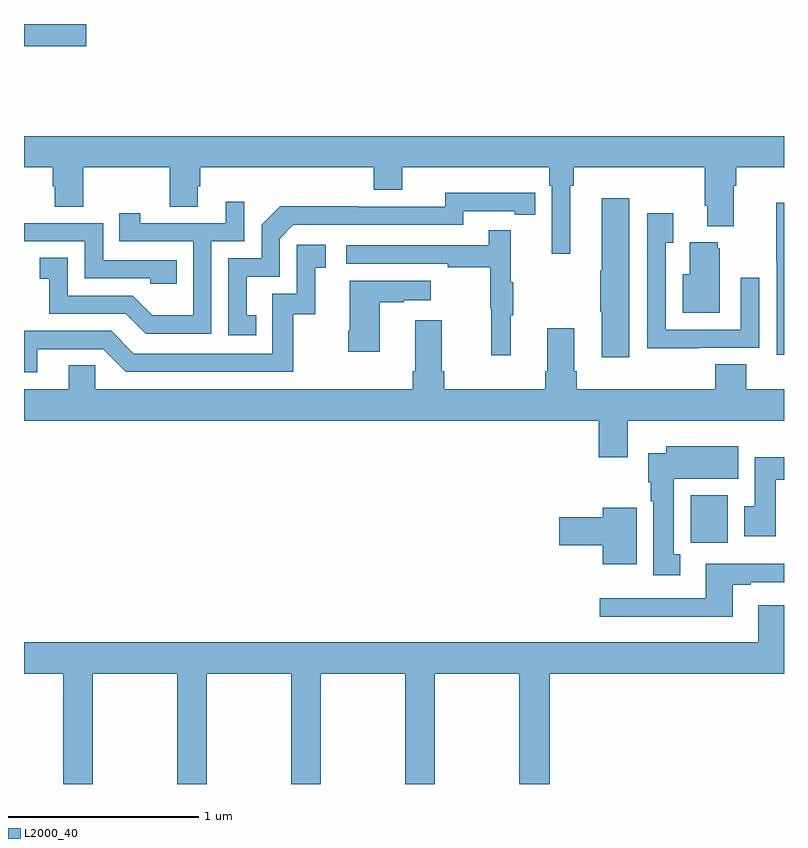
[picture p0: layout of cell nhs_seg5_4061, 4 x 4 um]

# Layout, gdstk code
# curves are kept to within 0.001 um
import gdstk
lib = gdstk.Library(unit=1e-6, precision=1e-09)
def R(c, l, rs):  # rectangles x0, y0, x1, y1
    for r in rs: c.add(gdstk.rectangle(r[:2], r[2:], *l))
def P(c, l, *ps):  # polygons
    for p in ps: c.add(gdstk.Polygon(p, *l))
L2000_40 = (2000, 40)

nhs_seg5_4061 = lib.new_cell('nhs_seg5_4061')
R(nhs_seg5_4061, L2000_40, [(352.509,904.068,352.705,904.318), (349,906.682,349.327,906.799)])
P(nhs_seg5_4061, L2000_40, [(351.874,905.948),(351.893,905.948),(351.893,906.044),(352.583,906.044),(352.583,905.842),(352.595,905.842),(352.595,905.735),(352.735,905.735),(352.735,905.948),(352.748,905.948),(352.748,906.044),(353,906.044),(353,906.208),(349,906.208),(349,906.044),(349.151,906.044),(349.151,905.946),(349.163,905.946),(349.163,905.836),(349.311,905.836),(349.311,906.044),(349.768,906.044),(349.768,905.836),(349.915,905.836),(349.915,905.946),(349.928,905.946),(349.928,906.044),(350.84,906.044),(350.84,905.927),(350.992,905.927),(350.992,906.044),(351.764,906.044),(351.764,905.948),(351.777,905.948),(351.777,905.589),(351.874,905.589)],
  [(350.222,905.265),(350.173,905.265),(350.173,905.469),(350.346,905.469),(350.346,905.67),(350.418,905.742),(351.312,905.742),(351.312,905.814),(351.584,905.814),(351.584,905.794),(351.692,905.794),(351.692,905.91),(351.216,905.911),(351.216,905.838),(350.756,905.838),(350.756,905.84),(350.348,905.84),(350.25,905.742),(350.25,905.565),(350.076,905.565),(350.076,905.16),(350.222,905.16)],
  [(352.186,905.881),(352.04,905.881),(352.04,905.501),(352.033,905.501),(352.033,905.284),(352.04,905.284),(352.04,905.046),(352.186,905.046)],
  [(349.986,905.655),(350.16,905.655),(350.16,905.863),(350.063,905.863),(350.063,905.751),(349.612,905.751),(349.612,905.803),(349.501,905.803),(349.501,905.655),(349.89,905.655),(349.89,905.266),(349.676,905.266),(349.572,905.37),(349.23,905.37),(349.23,905.569),(349.083,905.569),(349.083,905.459),(349.132,905.459),(349.132,905.274),(349.535,905.274),(349.64,905.169),(349.986,905.169)],
  [(353,905.858),(352.96,905.858),(352.96,905.551),(352.962,905.551),(352.962,905.058),(353,905.058)],
  [(352.553,905.094),(352.869,905.094),(352.869,905.464),(352.773,905.464),(352.773,905.19),(352.377,905.19),(352.377,905.647),(352.417,905.647),(352.417,905.803),(352.281,905.803),(352.281,905.093),(352.553,905.093)],
  [(349.805,905.556),(349.416,905.556),(349.416,905.751),(349,905.751),(349,905.655),(349.32,905.655),(349.32,905.46),(349.665,905.46),(349.665,905.433),(349.805,905.433)],
  [(351.563,905.267),(351.574,905.267),(351.574,905.441),(351.563,905.441),(351.563,905.713),(351.445,905.713),(351.445,905.634),(350.697,905.634),(350.697,905.538),(351.229,905.538),(351.229,905.518),(351.453,905.518),(351.453,905.304),(351.46,905.304),(351.46,905.055),(351.563,905.055)],
  [(352.663,905.619),(352.652,905.619),(352.652,905.65),(352.505,905.65),(352.505,905.482),(352.466,905.482),(352.466,905.279),(352.663,905.279)],
  [(349.069,905.088),(349.416,905.088),(349.536,904.968),(350.416,904.968),(350.416,905.271),(350.534,905.271),(350.534,905.517),(350.587,905.517),(350.587,905.638),(350.436,905.638),(350.436,905.379),(350.307,905.379),(350.307,905.064),(349.578,905.064),(349.458,905.184),(349,905.184),(349,904.965),(349.069,904.965)],
  [(350.872,905.335),(350.999,905.335),(350.999,905.345),(351.142,905.345),(351.142,905.449),(350.714,905.449),(350.714,905.185),(350.707,905.185),(350.707,905.073),(350.872,905.073)],
  [(352.177,904.712),(353,904.712),(353,904.876),(352.802,904.876),(352.802,905.009),(352.637,905.009),(352.637,904.876),(351.908,904.876),(351.908,904.972),(351.895,904.972),(351.895,905.197),(351.755,905.197),(351.755,904.972),(351.743,904.972),(351.743,904.876),(351.212,904.876),(351.212,904.972),(351.199,904.972),(351.199,905.239),(351.059,905.239),(351.059,904.972),(351.047,904.972),(351.047,904.876),(349.374,904.876),(349.374,905.003),(349.235,905.003),(349.235,904.876),(349,904.876),(349,904.712),(352.025,904.712),(352.025,904.518),(352.177,904.518)],
  [(352.453,904.009),(352.42,904.009),(352.42,904.406),(352.759,904.406),(352.759,904.576),(352.379,904.576),(352.379,904.54),(352.286,904.54),(352.286,904.386),(352.298,904.386),(352.298,904.286),(352.313,904.286),(352.313,903.897),(352.453,903.897)],
  [(352.957,904.4),(353,904.4),(353,904.518),(352.847,904.518),(352.847,904.26),(352.79,904.26),(352.79,904.104),(352.957,904.104)],
  [(352.225,904.252),(352.046,904.252),(352.046,904.202),(351.816,904.202),(351.816,904.055),(352.046,904.055),(352.046,903.956),(352.225,903.956)],
  [(352.729,903.849),(352.825,903.849),(352.825,903.861),(353,903.861),(353,903.958),(352.589,903.958),(352.589,903.777),(352.029,903.777),(352.029,903.68),(352.729,903.68)],
  [(350.562,903.38),(351.007,903.38),(351.007,902.799),(351.162,902.799),(351.162,903.38),(351.607,903.38),(351.607,902.799),(351.767,902.799),(351.767,903.38),(353,903.38),(353,903.739),(352.865,903.739),(352.865,903.544),(349,903.544),(349,903.38),(349.207,903.38),(349.207,902.799),(349.362,902.799),(349.362,903.38),(349.807,903.38),(349.807,902.799),(349.962,902.799),(349.962,903.38),(350.407,903.38),(350.407,902.799),(350.562,902.799)])

lib.write_gds('nhs_seg5_4061.gds')
